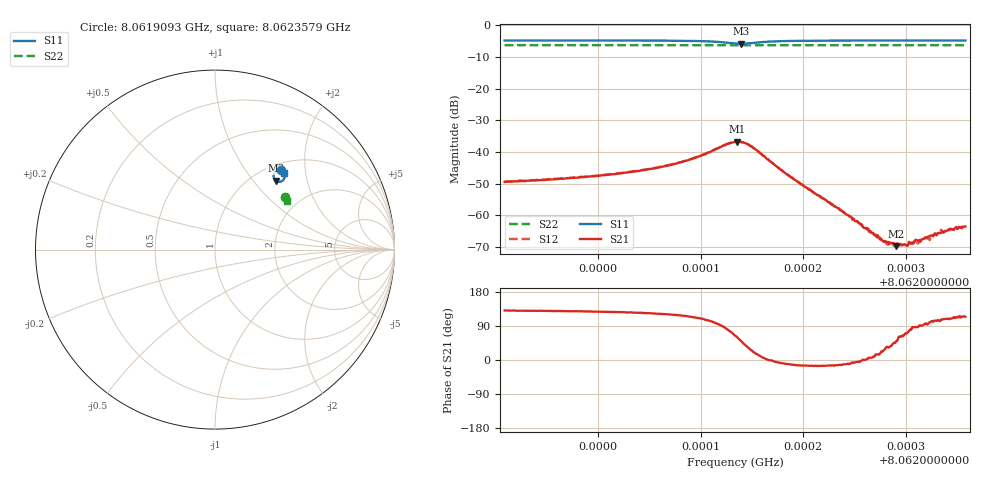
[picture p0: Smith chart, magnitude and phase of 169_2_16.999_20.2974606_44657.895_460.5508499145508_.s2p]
#  HZ  S  RI  R  50.00
! Rohde & Schwarz Vector Network Analyzer
! Rohde-Schwarz,ZNB20-2Port,1311601062101988,3.16
! Created: UTC 3/20/2024, 10:59:40 PM
! freq[Hz]  re:S11  im:S11  re:S21  im:S21  re:S12  im:S12  re:S22  im:S22
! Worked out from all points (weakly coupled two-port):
!   401 points, 8.0619093 GHz to 8.0623579 GHz, reference 50 ohm
!   highest |S21| = -36.73 dB at 8.0621358 GHz (marker M1); lowest = -69.7 dB at 8.0622906 GHz (marker M2)
!   lowest |S11| = -5.8 dB at 8.0621392 GHz (marker M3), VSWR 3.10, Z = 63 + j65.6 ohm
!   |S11| at or under -10 dB: nowhere
!   |S22| runs from -6.3 to -6.3 dB; largest |S21 - S12| = 0.0011
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8.06190925e9  0.3704 0.4407  -0.0022 0.00256  -0.00206 0.00272  0.3874 0.2932
8.0619844e9  0.3767 0.4348  -0.00247 0.00313  -0.00233 0.00336  0.39 0.2894
8.06202479e9  0.3804 0.4305  -0.00276 0.00376  -0.00256 0.00394  0.3915 0.2874
8.06205956e9  0.3844 0.4242  -0.00304 0.00484  -0.00279 0.00507  0.3927 0.2855
8.06208984e9  0.3879 0.4136  -0.00314 0.00694  -0.00273 0.00721  0.3937 0.2835
8.06211677e9  0.3826 0.391  -0.00104 0.0113  -0.000348 0.0116  0.3938 0.2814
8.06213359e9  0.3523 0.3778  0.0062 0.013  0.00701 0.0128  0.393 0.2805
8.06213583e9  0.3462 0.3795  0.0073 0.0126  0.0083 0.0122  0.3927 0.2806
8.0621392e9  0.3379 0.3844  0.00915 0.0111  0.0101 0.0106  0.3926 0.2808
8.06214481e9  0.3284 0.3972  0.0108 0.00807  0.0115 0.00729  0.3924 0.2812
8.06215266e9  0.3272 0.4162  0.0106 0.00375  0.011 0.00304  0.3931 0.2818
8.06218182e9  0.3526 0.4392  0.00468 -0.000797  0.00467 -0.00108  0.3954 0.281
8.06220874e9  0.365 0.4386  0.0023 -0.000616  0.00227 -0.000787  0.3969 0.2794
8.06224352e9  0.373 0.4359  0.000992 -0.000163  0.00101 -0.000283  0.3981 0.2775
8.06226595e9  0.3765 0.4341  0.000554 5.75e-05  0.000534 1.08e-05  0.399 0.2765
8.06227605e9  0.3778 0.4333  0.000393 0.000164  0.000399 0.000113  0.3993 0.2759
8.0622839e9  0.3787 0.4326  0.000294 0.000196  0.000331 0.000152  0.3996 0.2756
8.06229063e9  0.3795 0.4322  0.00021 0.000251  0.000258 0.000244  0.3998 0.2751
8.0622996e9  0.3803 0.4315  0.000116 0.000324  0.000132 0.000316  0.4001 0.2747
8.06231194e9  0.3816 0.4307  2.05e-05 0.000396  2.52e-05 0.000359  0.4006 0.2741
8.0623355e9  0.3836 0.4293  -0.000158 0.000542  -0.00013 0.000524  0.4013 0.2729
8.06235793e9  0.3854 0.4279  -0.000273 0.000611  -0.000271 0.000627  0.4021 0.2719
